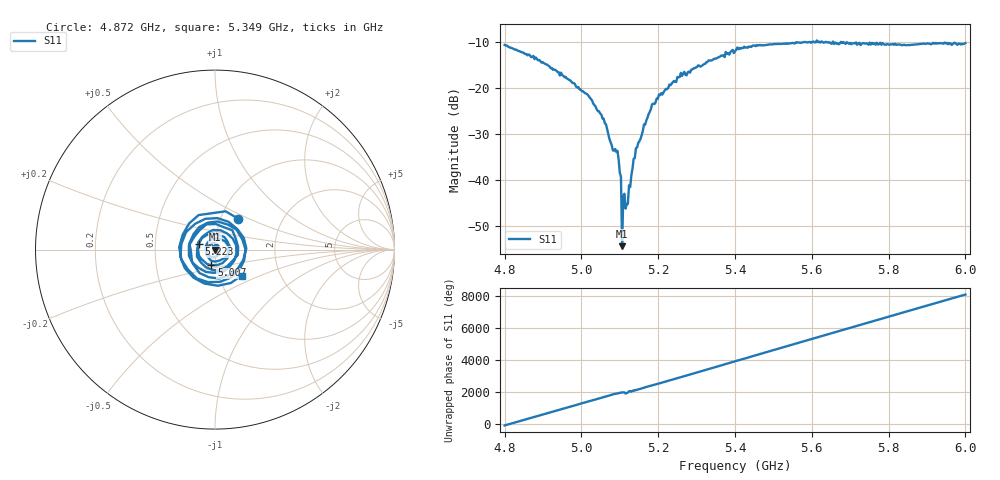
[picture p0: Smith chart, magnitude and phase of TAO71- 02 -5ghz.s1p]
! NanoVNA-App
! Date: 2026-05-22 23:29:49
! Start: 4.8GHz Stop: 6GHz Points: 401
! S-Parameter data: F S11
# Hz S RI R 50
!  Frequency  S11_Real  S11_Imag
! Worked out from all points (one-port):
!   401 points, 4.8 GHz to 6 GHz, reference 50 ohm
!   lowest |S11| = -54.4 dB at 5.106 GHz (marker M1), VSWR 1.00, Z = 49.8 - j0.0156 ohm
!   |S11| at or under -10 dB: start of sweep to 5.603 GHz; 5.626 GHz to 5.655 GHz (28.61 MHz wide, 0.507 % of centre); 5.655 GHz to end of sweep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
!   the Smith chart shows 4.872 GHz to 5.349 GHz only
!   S11 on the Smith chart (normalised r, x): 4.872 GHz: 1.21, +0.44; 5.007 GHz: 0.95, -0.17; 5.223 GHz: 0.83, +0.05; 5.349 GHz: 1.28, -0.39
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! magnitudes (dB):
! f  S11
! 4.8 GHz  -10.7
! 4.872 GHz  -13.3
! 4.95 GHz  -17.3
! 5.007 GHz  -21.0
! 5.022 GHz  -22.2
! 5.058 GHz  -26.7
! 5.079 GHz  -32.5
! 5.091 GHz  -34.0
! 5.097 GHz  -35.7
! 5.1 GHz  -38.5
! 5.106 GHz  -54.4
! 5.112 GHz  -43.0
! 5.115 GHz  -46.3
! 5.121 GHz  -45.3
! 5.13 GHz  -39.1
! 5.142 GHz  -33.1
! 5.181 GHz  -24.6
! 5.202 GHz  -21.5
! 5.223 GHz  -20.3
! 5.25 GHz  -17.7
! 5.262 GHz  -17.5
! 5.349 GHz  -13.7
! 5.4 GHz  -12.1
! 5.451 GHz  -10.8
! 5.55 GHz  -10.3
! 5.7 GHz  -10.3
! 5.85 GHz  -10.8
! 6 GHz  -10.3
